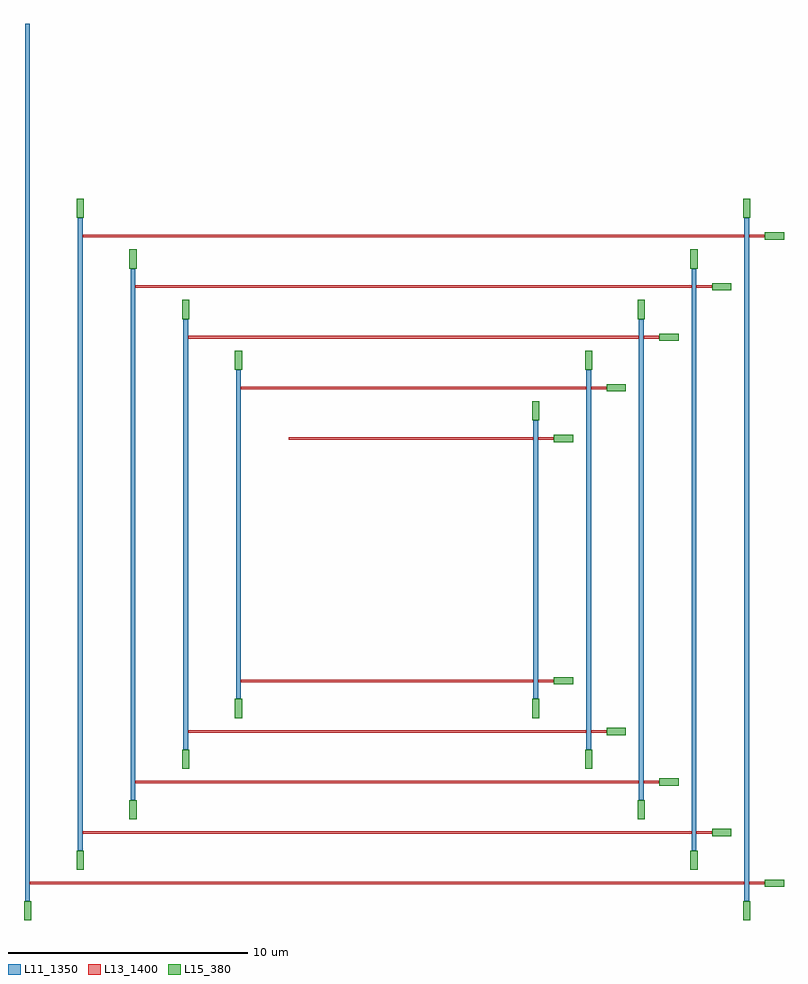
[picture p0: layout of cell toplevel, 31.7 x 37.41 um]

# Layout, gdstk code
import gdstk
lib = gdstk.Library(unit=1e-6, precision=1e-09)
def R(c, l, rs):  # rectangles x0, y0, x1, y1
    for r in rs: c.add(gdstk.rectangle(r[:2], r[2:], *l))
L11_1350 = (11, 1350)
L13_1400 = (13, 1400)
L15_380 = (15, 380)

boolean039 = lib.new_cell('boolean039')
R(boolean039, L13_1400, [(-16,-13.55,13.8,-13.44), (14,-13.55,14.65,-13.44), (-13.8,-11.44,11.6,-11.33), (11.8,-11.44,12.45,-11.33), (-11.6,-9.33,9.4,-9.22), (9.6,-9.33,10.25,-9.22), (-9.4,-7.22,7.2,-7.11), (7.4,-7.22,8.05,-7.11), (-7.2,-5.11,5,-5), (5.2,-5.11,5.85,-5), (-5.2,5,5,5.11), (5.2,5,5.85,5.11), (-7.2,7.11,7.2,7.22), (7.4,7.11,8.05,7.22), (-9.4,9.22,9.4,9.33), (9.6,9.22,10.25,9.33), (-11.6,11.33,11.6,11.44), (11.8,11.33,12.45,11.44), (-13.8,13.44,13.8,13.55), (14,13.44,14.65,13.55)])

rectangle004 = lib.new_cell('rectangle004')
R(rectangle004, L15_380, [(-0.05,-0.8,0.25,0)])

rectangle005 = lib.new_cell('rectangle005')
R(rectangle005, L15_380, [(-0.05,11.62,0.25,12.42)])

rectangle003 = lib.new_cell('rectangle003')
R(rectangle003, L11_1350, [(5,-5.81,5.2,5.81)])
rectangle003.add(gdstk.Reference(rectangle004, (5,-5.81)))
rectangle003.add(gdstk.Reference(rectangle005, (5,-5.81)))

rectangle007 = lib.new_cell('rectangle007')
R(rectangle007, L15_380, [(-0.05,-0.8,0.25,0)])

rectangle008 = lib.new_cell('rectangle008')
R(rectangle008, L15_380, [(-0.05,13.73,0.25,14.53)])

rectangle006 = lib.new_cell('rectangle006')
R(rectangle006, L11_1350, [(-7.4,-5.81,-7.2,7.92)])
rectangle006.add(gdstk.Reference(rectangle007, (-7.4,-5.81)))
rectangle006.add(gdstk.Reference(rectangle008, (-7.4,-5.81)))

rectangle012 = lib.new_cell('rectangle012')
R(rectangle012, L15_380, [(-0.05,-0.8,0.25,0)])

rectangle013 = lib.new_cell('rectangle013')
R(rectangle013, L15_380, [(-0.05,15.84,0.25,16.64)])

rectangle011 = lib.new_cell('rectangle011')
R(rectangle011, L11_1350, [(7.2,-7.92,7.4,7.92)])
rectangle011.add(gdstk.Reference(rectangle012, (7.2,-7.92)))
rectangle011.add(gdstk.Reference(rectangle013, (7.2,-7.92)))

rectangle015 = lib.new_cell('rectangle015')
R(rectangle015, L15_380, [(-0.05,-0.8,0.25,0)])

rectangle016 = lib.new_cell('rectangle016')
R(rectangle016, L15_380, [(-0.05,17.95,0.25,18.75)])

rectangle014 = lib.new_cell('rectangle014')
R(rectangle014, L11_1350, [(-9.6,-7.92,-9.4,10.03)])
rectangle014.add(gdstk.Reference(rectangle015, (-9.6,-7.92)))
rectangle014.add(gdstk.Reference(rectangle016, (-9.6,-7.92)))

rectangle020 = lib.new_cell('rectangle020')
R(rectangle020, L15_380, [(-0.05,-0.8,0.25,0)])

rectangle021 = lib.new_cell('rectangle021')
R(rectangle021, L15_380, [(-0.05,20.06,0.25,20.86)])

rectangle019 = lib.new_cell('rectangle019')
R(rectangle019, L11_1350, [(9.4,-10.03,9.6,10.03)])
rectangle019.add(gdstk.Reference(rectangle020, (9.4,-10.03)))
rectangle019.add(gdstk.Reference(rectangle021, (9.4,-10.03)))

rectangle023 = lib.new_cell('rectangle023')
R(rectangle023, L15_380, [(-0.05,-0.8,0.25,0)])

rectangle024 = lib.new_cell('rectangle024')
R(rectangle024, L15_380, [(-0.05,22.17,0.25,22.97)])

rectangle022 = lib.new_cell('rectangle022')
R(rectangle022, L11_1350, [(-11.8,-10.03,-11.6,12.14)])
rectangle022.add(gdstk.Reference(rectangle023, (-11.8,-10.03)))
rectangle022.add(gdstk.Reference(rectangle024, (-11.8,-10.03)))

rectangle028 = lib.new_cell('rectangle028')
R(rectangle028, L15_380, [(-0.05,-0.8,0.25,0)])

rectangle029 = lib.new_cell('rectangle029')
R(rectangle029, L15_380, [(-0.05,24.28,0.25,25.08)])

rectangle027 = lib.new_cell('rectangle027')
R(rectangle027, L11_1350, [(11.6,-12.14,11.8,12.14)])
rectangle027.add(gdstk.Reference(rectangle028, (11.6,-12.14)))
rectangle027.add(gdstk.Reference(rectangle029, (11.6,-12.14)))

rectangle031 = lib.new_cell('rectangle031')
R(rectangle031, L15_380, [(-0.05,-0.8,0.25,0)])

rectangle032 = lib.new_cell('rectangle032')
R(rectangle032, L15_380, [(-0.05,26.39,0.25,27.19)])

rectangle030 = lib.new_cell('rectangle030')
R(rectangle030, L11_1350, [(-14,-12.14,-13.8,14.25)])
rectangle030.add(gdstk.Reference(rectangle031, (-14,-12.14)))
rectangle030.add(gdstk.Reference(rectangle032, (-14,-12.14)))

rectangle036 = lib.new_cell('rectangle036')
R(rectangle036, L15_380, [(-0.05,-0.8,0.25,0)])

rectangle037 = lib.new_cell('rectangle037')
R(rectangle037, L15_380, [(-0.05,28.5,0.25,29.3)])

rectangle035 = lib.new_cell('rectangle035')
R(rectangle035, L11_1350, [(13.8,-14.25,14,14.25)])
rectangle035.add(gdstk.Reference(rectangle036, (13.8,-14.25)))
rectangle035.add(gdstk.Reference(rectangle037, (13.8,-14.25)))

boolean = lib.new_cell('boolean')
R(boolean, L11_1350, [(-16.2,-14.25,-16,22.36)])

rectangle = lib.new_cell('rectangle')
R(rectangle, L15_380, [(5.85,4.905,6.65,5.205)])

rectangle002 = lib.new_cell('rectangle002')
R(rectangle002, L15_380, [(5.85,-5.205,6.65,-4.905)])

rectangle009 = lib.new_cell('rectangle009')
R(rectangle009, L15_380, [(8.05,7.015,8.85,7.315)])

rectangle010 = lib.new_cell('rectangle010')
R(rectangle010, L15_380, [(8.05,-7.315,8.85,-7.015)])

rectangle017 = lib.new_cell('rectangle017')
R(rectangle017, L15_380, [(10.25,9.125,11.05,9.425)])

rectangle018 = lib.new_cell('rectangle018')
R(rectangle018, L15_380, [(10.25,-9.425,11.05,-9.125)])

rectangle025 = lib.new_cell('rectangle025')
R(rectangle025, L15_380, [(12.45,11.235,13.25,11.535)])

rectangle026 = lib.new_cell('rectangle026')
R(rectangle026, L15_380, [(12.45,-11.535,13.25,-11.235)])

rectangle033 = lib.new_cell('rectangle033')
R(rectangle033, L15_380, [(14.65,13.345,15.45,13.645)])

rectangle034 = lib.new_cell('rectangle034')
R(rectangle034, L15_380, [(14.65,-13.645,15.45,-13.345)])

rectangle038 = lib.new_cell('rectangle038')
R(rectangle038, L15_380, [(-16.25,-15.05,-15.95,-14.25)])

undercuts = lib.new_cell('Undercuts')
undercuts.add(gdstk.Reference(rectangle, (0,0)))
undercuts.add(gdstk.Reference(rectangle002, (0,0)))
undercuts.add(gdstk.Reference(rectangle009, (0,0)))
undercuts.add(gdstk.Reference(rectangle010, (0,0)))
undercuts.add(gdstk.Reference(rectangle017, (0,0)))
undercuts.add(gdstk.Reference(rectangle018, (0,0)))
undercuts.add(gdstk.Reference(rectangle025, (0,0)))
undercuts.add(gdstk.Reference(rectangle026, (0,0)))
undercuts.add(gdstk.Reference(rectangle033, (0,0)))
undercuts.add(gdstk.Reference(rectangle034, (0,0)))
undercuts.add(gdstk.Reference(rectangle038, (0,0)))

toplevel = lib.new_cell('toplevel')
toplevel.add(gdstk.Reference(boolean039, (0,0)))
toplevel.add(gdstk.Reference(rectangle003, (0,0)))
toplevel.add(gdstk.Reference(rectangle006, (0,0)))
toplevel.add(gdstk.Reference(rectangle011, (0,0)))
toplevel.add(gdstk.Reference(rectangle014, (0,0)))
toplevel.add(gdstk.Reference(rectangle019, (0,0)))
toplevel.add(gdstk.Reference(rectangle022, (0,0)))
toplevel.add(gdstk.Reference(rectangle027, (0,0)))
toplevel.add(gdstk.Reference(rectangle030, (0,0)))
toplevel.add(gdstk.Reference(rectangle035, (0,0)))
toplevel.add(gdstk.Reference(boolean, (0,0)))
toplevel.add(gdstk.Reference(undercuts, (0,0)))

lib.write_gds('toplevel.gds')
